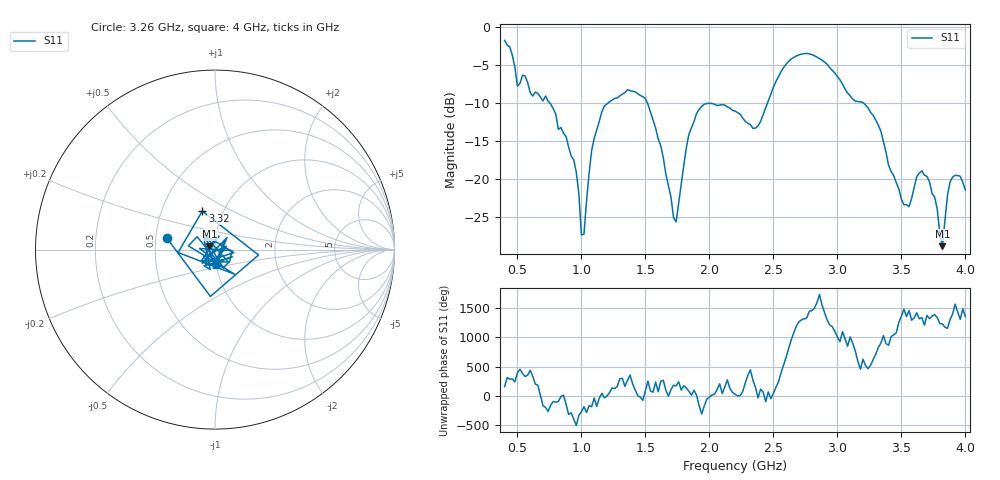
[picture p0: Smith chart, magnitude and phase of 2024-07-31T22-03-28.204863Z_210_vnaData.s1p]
!Created with skrf (http://scikit-rf.org).
# Hz S RI R 50.0
!freq ReS11 ImS11
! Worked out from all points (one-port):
!   181 points, 400 MHz to 4 GHz, reference 50 ohm
!   lowest |S11| = -28.8 dB at 3.82 GHz (marker M1), VSWR 1.07, Z = 47 + j1.72 ohm
!   |S11| at or under -10 dB: 754.4 MHz to 1.208 GHz (453.3 MHz wide, 46.2 % of centre); 1.516 GHz to 2.454 GHz (938.3 MHz wide, 47.3 % of centre); 3.204 GHz to end of sweep
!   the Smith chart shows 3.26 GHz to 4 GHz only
!   S11 on the Smith chart (normalised r, x): 3.26 GHz: 0.57, +0.08; 3.32 GHz: 0.80, +0.36; 4 GHz: 1.00, -0.17
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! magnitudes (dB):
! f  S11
! 400 MHz  -1.8
! 500 MHz  -7.8
! 720 MHz  -9.1
! 860 MHz  -14.0
! 960 MHz  -19.1
! 1 GHz  -27.4
! 1.02 GHz  -27.3
! 1.1 GHz  -14.6
! 1.3 GHz  -9.0
! 1.5 GHz  -9.4
! 1.62 GHz  -15.6
! 1.72 GHz  -25.1
! 1.76 GHz  -23.1
! 1.84 GHz  -14.1
! 1.9 GHz  -11.4
! 2.2 GHz  -11.1
! 2.36 GHz  -13.3
! 2.66 GHz  -4.0
! 2.88 GHz  -4.4
! 3.1 GHz  -9.1
! 3.26 GHz  -11.2
! 3.32 GHz  -12.9
! 3.56 GHz  -23.6
! 3.62 GHz  -19.7
! 3.7 GHz  -19.7
! 3.82 GHz  -28.8
! 3.88 GHz  -20.4
! 4 GHz  -21.4
